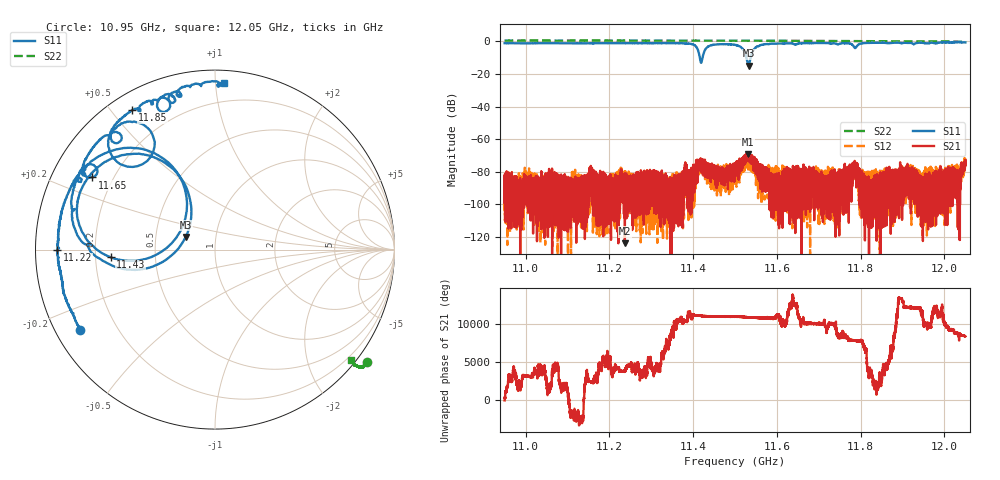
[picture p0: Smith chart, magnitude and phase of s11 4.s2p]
!Agilent Technologies,E8362C,MY49020356,A.09.42.23
!Agilent E8362C: A.09.42.23
!Date: Saturday, September 11, 2021 04:17:47
!Correction: S11(Full 2 Port(1,2))
!S21(Full 2 Port(1,2))
!S12(Full 2 Port(1,2))
!S22(Full 2 Port(1,2))
!S2P File: Measurements: S11, S21, S12, S22:
# Hz S  MA  R 50
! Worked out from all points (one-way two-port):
!   32001 points, 10.95 GHz to 12.05 GHz, reference 50 ohm
!   highest |S21| = -69.03 dB at 11.53 GHz (marker M1); lowest = -124.0 dB at 11.24 GHz (marker M2)
!   lowest |S11| = -15.0 dB at 11.53 GHz (marker M3), VSWR 1.43, Z = 35.7 + j5.23 ohm
!   |S11| at or under -10 dB: 11.41602 GHz to 11.42254 GHz (6.515 MHz wide, 0.0571 % of centre); 11.52709 GHz to 11.53725 GHz (10.17 MHz wide, 0.0881 % of centre)
!   |S22| runs from -0.2 to 0.5 dB; largest |S21 - S12| = 0.00021
!   S11 on the Smith chart (normalised r, x): 10.95 GHz: 0.07, -0.27; 11.22 GHz: 0.06, -0.00; 11.43 GHz: 0.26, -0.03; 11.65 GHz: 0.12, +0.27; 11.85 GHz: 0.07, +0.57; 12.05 GHz: 0.08, +1.06
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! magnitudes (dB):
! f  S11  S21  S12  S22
! 10.95 GHz  -1.2  -86.4  -91.1  0.4
! 11.13 GHz  -1.2  -89.6  -92.0  0.5
! 11.22 GHz  -1.1  -91.2  -87.7  0.5
! 11.24 GHz  -1.2  -124.0  -86.5  0.5
! 11.32 GHz  -1.1  -86.3  -96.9  0.5
! 11.4 GHz  -1.9  -83.8  -92.8  0.5
! 11.42 GHz  -13.2  -73.5  -76.5  0.4
! 11.43 GHz  -4.7  -77.1  -81.0  0.4
! 11.47 GHz  -1.8  -83.1  -79.2  0.4
! 11.5 GHz  -2.2  -83.0  -82.1  0.4
! 11.52 GHz  -4.4  -76.4  -76.5  0.4
! 11.53 GHz  -14.6  -69.0  -75.3  0.4
! 11.53 GHz  -15.0  -72.5  -74.3  0.4
! 11.55 GHz  -4.9  -73.3  -78.7  0.4
! 11.56 GHz  -2.7  -76.4  -79.1  0.4
! 11.65 GHz  -2.0  -82.9  -89.6  0.3
! 11.68 GHz  -1.1  -82.9  -90.0  0.3
! 11.79 GHz  -4.1  -81.1  -77.6  0.1
! 11.85 GHz  -0.9  -91.9  -86.3  0.1
! 11.87 GHz  -1.1  -82.8  -94.7  0.1
! 12.03 GHz  -0.6  -90.8  -80.0  -0.2
! 12.05 GHz  -0.7  -73.3  -72.9  -0.2
